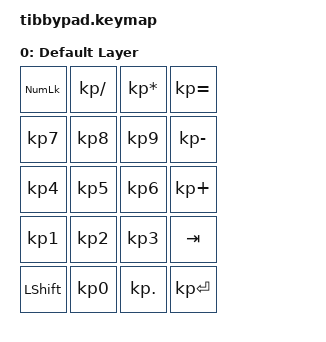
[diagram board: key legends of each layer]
/*
 * Copyright (c) 2022 The ZMK Contributors
 *
 * SPDX-License-Identifier: MIT
 */

#include <behaviors.dtsi>
#include <dt-bindings/zmk/keys.h>
#include <dt-bindings/zmk/bt.h>

/ {
    keymap {
        compatible = "zmk,keymap";

        default_layer {
            display-name = "Default Layer";
            bindings = <
              &kp KP_NUMLOCK	&kp KP_DIVIDE	&kp KP_MULTIPLY	&kp KP_EQUAL
              &kp KP_N7	&kp KP_N8	&kp KP_N9	&kp KP_MINUS
              &kp KP_N4	&kp KP_N5	&kp KP_N6	&kp KP_PLUS
              &kp KP_N1	&kp KP_N2	&kp KP_N3	&kp TAB
              &kp LEFT_SHIFT	&kp KP_N0	&kp KP_DOT	&kp KP_ENTER
            >;
        };
    };
};
